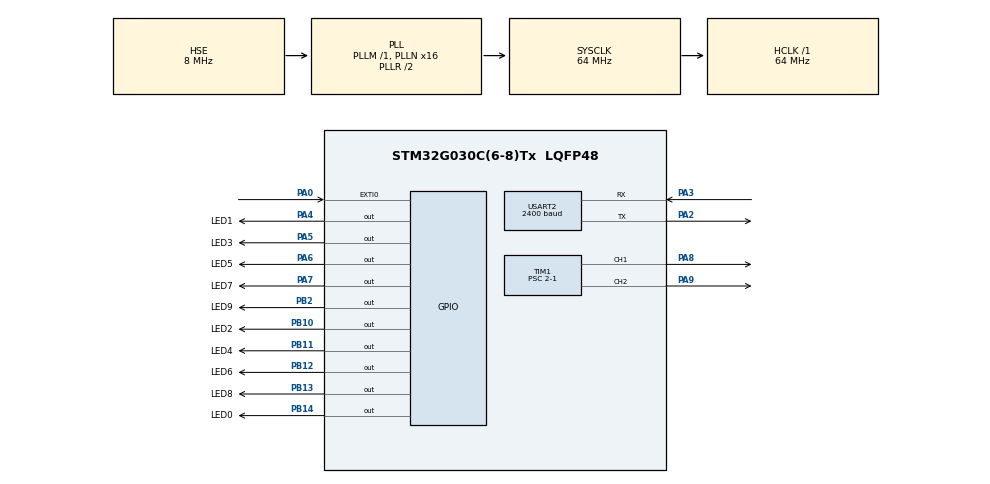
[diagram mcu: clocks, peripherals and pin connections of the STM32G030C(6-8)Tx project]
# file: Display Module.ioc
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Mcu.Family=STM32G0
Mcu.Name=STM32G030C(6-8)Tx
Mcu.Package=LQFP48
NVIC.USART2_IRQn=true\:3\:0\:true\:false\:true\:true\:true\:true
PA0.GPIO_ModeDefaultEXTI=GPIO_MODE_IT_FALLING
PA0.Signal=GPXTI0
PA13.Mode=Serial_Wire
PA13.Signal=SYS_SWDIO
PA14-BOOT0.Mode=Serial_Wire
PA14-BOOT0.Signal=SYS_SWCLK
PA2.Mode=Asynchronous
PA2.Signal=USART2_TX
PA3.Mode=Asynchronous
PA3.Signal=USART2_RX
PA4.GPIO_Label=LED1
PA4.GPIO_ModeDefaultOutputPP=GPIO_MODE_OUTPUT_OD
PA4.GPIO_PuPd=GPIO_NOPULL
PA4.Signal=GPIO_Output
PA5.GPIO_Label=LED3
PA5.GPIO_ModeDefaultOutputPP=GPIO_MODE_OUTPUT_OD
PA5.GPIO_PuPd=GPIO_NOPULL
PA5.Signal=GPIO_Output
PA6.GPIO_Label=LED5
PA6.GPIO_ModeDefaultOutputPP=GPIO_MODE_OUTPUT_OD
PA6.GPIO_PuPd=GPIO_NOPULL
PA6.Signal=GPIO_Output
PA7.GPIO_Label=LED7
PA7.GPIO_ModeDefaultOutputPP=GPIO_MODE_OUTPUT_OD
PA7.GPIO_PuPd=GPIO_NOPULL
PA7.Signal=GPIO_Output
PA8.Signal=S_TIM1_CH1
PA9.Signal=S_TIM1_CH2
PB10.GPIO_Label=LED2
PB10.GPIO_ModeDefaultOutputPP=GPIO_MODE_OUTPUT_OD
PB10.GPIO_PuPd=GPIO_NOPULL
PB10.Signal=GPIO_Output
PB11.GPIO_Label=LED4
PB11.GPIO_ModeDefaultOutputPP=GPIO_MODE_OUTPUT_OD
PB11.GPIO_PuPd=GPIO_NOPULL
PB11.Signal=GPIO_Output
PB12.GPIO_Label=LED6
PB12.GPIO_ModeDefaultOutputPP=GPIO_MODE_OUTPUT_OD
PB12.GPIO_PuPd=GPIO_NOPULL
PB12.Signal=GPIO_Output
PB13.GPIO_Label=LED8
PB13.GPIO_ModeDefaultOutputPP=GPIO_MODE_OUTPUT_OD
PB13.GPIO_PuPd=GPIO_NOPULL
PB13.Signal=GPIO_Output
PB14.GPIO_Label=LED0
PB14.GPIO_ModeDefaultOutputPP=GPIO_MODE_OUTPUT_OD
PB14.GPIO_PuPd=GPIO_NOPULL
PB14.Signal=GPIO_Output
PB2.GPIO_Label=LED9
PB2.GPIO_ModeDefaultOutputPP=GPIO_MODE_OUTPUT_OD
PB2.GPIO_PuPd=GPIO_NOPULL
PB2.Signal=GPIO_Output
PF0-OSC_IN\ (PF0).Mode=HSE-External-Oscillator
PF0-OSC_IN\ (PF0).Signal=RCC_OSC_IN
PF1-OSC_OUT\ (PF1).Mode=HSE-External-Oscillator
PF1-OSC_OUT\ (PF1).Signal=RCC_OSC_OUT
ProjectManager.HeapSize=0x200
ProjectManager.StackSize=0x400
ProjectManager.TargetToolchain=STM32CubeIDE
RCC.ADCFreq_Value=64000000
RCC.AHBFreq_Value=64000000
RCC.APB1CLKDivider=RCC_HCLK_DIV2
RCC.CortexFreq_Value=64000000
RCC.EXTERNAL_CLOCK_VALUE=12288000
RCC.HCLKFreq_Value=64000000
RCC.HSE_VALUE=8000000
RCC.HSI_VALUE=16000000
RCC.LSE_VALUE=32768
RCC.PLLN=16
RCC.PLLSourceVirtual=RCC_PLLSOURCE_HSE
RCC.SYSCLKFreq_VALUE=64000000
RCC.SYSCLKSource=RCC_SYSCLKSOURCE_PLLCLK
RCC.VCOOutputFreq_Value=128000000
SH.S_TIM1_CH1.0=TIM1_CH1,PWM Generation1 CH1
SH.S_TIM1_CH2.0=TIM1_CH2,PWM Generation2 CH2
TIM1.Channel-PWM\ Generation1\ CH1=TIM_CHANNEL_1
TIM1.Channel-PWM\ Generation2\ CH2=TIM_CHANNEL_2
TIM1.Period=64-1
TIM1.Prescaler=2-1
USART2.BaudRate=2400
USART2.VirtualMode-Asynchronous=VM_ASYNC
VP_TIM1_VS_ClockSourceINT.Mode=Internal
board=custom

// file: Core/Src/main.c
/* USER CODE BEGIN Header */
/**
  ******************************************************************************
  * @file           : main.c
  * @brief          : Main program body
  ******************************************************************************
  * @attention
  *
  * Copyright (c) 2024 STMicroelectronics.
  * All rights reserved.
  *
  * This software is licensed under terms that can be found in the LICENSE file
  * in the root directory of this software component.
  * If no LICENSE file comes with this software, it is provided AS-IS.
  *
  ******************************************************************************
  */
/* USER CODE END Header */
#include "main.h"

/* USER CODE BEGIN Includes */
#include <stdio.h>
#include <string.h>
/* USER CODE END Includes */

/* USER CODE BEGIN PD */
#define MAX_LED 10

uint8_t LED_Data[MAX_LED][4];
uint8_t LED_Mod[MAX_LED][4];  // for brightness

int datasentflag=0;
/* USER CODE END PD */

TIM_HandleTypeDef htim1;

UART_HandleTypeDef huart2;

/* USER CODE BEGIN PV */
volatile uint8_t interrupted=0;
volatile uint8_t cfgFlag=0;
volatile uint8_t readDigit=0;

uint8_t red = 0;
uint8_t green = 0;
uint8_t blue = 0;

uint8_t rx_buffer[20];
uint8_t tx_buffer[20];

uint8_t address;
uint8_t digit;
/* USER CODE END PV */

void SystemClock_Config(void);
static void MX_GPIO_Init(void);
static void MX_TIM1_Init(void);
static void MX_USART2_UART_Init(void);

/* USER CODE BEGIN 0 */

void Set_LED (int LEDnum, int Red, int Green, int Blue)
{
	LED_Data[LEDnum][0] = LEDnum;
	LED_Data[LEDnum][1] = Green;
	LED_Data[LEDnum][2] = Red;
	LED_Data[LEDnum][3] = Blue;
}

void HAL_TIM_PWM_PulseFinishedCallback(TIM_HandleTypeDef *htim)
{
	HAL_TIM_PWM_Stop_DMA(&htim1, TIM_CHANNEL_1);
	datasentflag=1;
}

uint16_t pwmData[(24*MAX_LED)+40];

void WS2812_Send (void)
{
	uint32_t indx=0;
	uint32_t color;

	for (int i= 0; i<MAX_LED; i++)
	{
		color = ((LED_Data[i][1]<<16) | (LED_Data[i][2]<<8) | (LED_Data[i][3]));

		for (int i=23; i>=0; i--)
		{
			if (color&(1<<i))
			{
				pwmData[indx] =29;  // ~45% of 64
			}

			else pwmData[indx] = 9;  // ~14% of 64

			indx++;
		}

	}

	for (int i=0; i<40; i++)
	{
		pwmData[indx] = 0;
		indx++;
	}

	HAL_TIM_PWM_Start_DMA(&htim1, TIM_CHANNEL_1, (uint32_t *)pwmData, indx);
	while (!datasentflag){};
	datasentflag = 0;
}

void toggleLED(int LED, int r, int g, int b)
{
	for (int var = 0; var < MAX_LED; ++var)
	{
		Set_LED(var, 0,0,0);
	}

	WS2812_Send();
	Set_LED(LED, r,g,b);
	WS2812_Send();
}

// Split-Flap code
//void GO(int angle, int delay)
//{
//	int step = angle/0.703125;
//
//	for (int var = 0; var < step; ++var)
//	{
//		HAL_GPIO_TogglePin(GPIOB, IN1_Pin);
//		HAL_GPIO_TogglePin(GPIOB, IN4_Pin);
//		HAL_Delay(delay);
//		HAL_GPIO_TogglePin(GPIOB, IN1_Pin);
//		HAL_GPIO_TogglePin(GPIOB, IN4_Pin);
//		HAL_GPIO_TogglePin(GPIOB, IN4_Pin);
//		HAL_GPIO_TogglePin(GPIOB, IN3_Pin);
//		HAL_Delay(delay);
//		HAL_GPIO_TogglePin(GPIOB, IN4_Pin);
//		HAL_GPIO_TogglePin(GPIOB, IN3_Pin);
//		HAL_GPIO_TogglePin(GPIOB, IN3_Pin);
//		HAL_GPIO_TogglePin(GPIOB, IN2_Pin);
//		HAL_Delay(delay);
//		HAL_GPIO_TogglePin(GPIOB, IN3_Pin);
//		HAL_GPIO_TogglePin(GPIOB, IN2_Pin);
//		HAL_GPIO_TogglePin(GPIOB, IN2_Pin);
//		HAL_GPIO_TogglePin(GPIOB, IN1_Pin);
//		HAL_Delay(delay);
//		HAL_GPIO_TogglePin(GPIOB, IN2_Pin);
//		HAL_GPIO_TogglePin(GPIOB, IN1_Pin);
//	}
//}

//void HAL_GPIO_EXTI_Falling_Callback(uint16_t GPIO_Pin)
//{
//	interrupted=1;
//	HAL_GPIO_TogglePin(GPIOD, GPIO_PIN_1);
//}
/* USER CODE END 0 */

int main(void)
{

  /* MCU Configuration--------------------------------------------------------*/

  /* Reset of all peripherals, Initializes the Flash interface and the Systick. */
  HAL_Init();

  /* Configure the system clock */
  SystemClock_Config();

  /* Initialize all configured peripherals */
  MX_GPIO_Init();
  MX_TIM1_Init();
  MX_USART2_UART_Init();
  /* USER CODE BEGIN 2 */

  HAL_UART_Receive_IT(&huart2, rx_buffer, 2);

  for (int var = 0; var < MAX_LED; ++var)
  {
	Set_LED(var, 0,0,0);
  }

  WS2812_Send();

//  HAL_TIM_PWM_Start(&htim1, TIM_CHANNEL_2);

  /* USER CODE END 2 */

  /* Infinite loop */
  /* USER CODE BEGIN WHILE */
  while (1)
  {
	  if(cfgFlag)
	  {
		  toggleLED(address, red, green, blue);
		  cfgFlag = 0;
	  }

	  if(readDigit)
	  {
		  toggleLED(digit, red, green, blue);
		  readDigit=0;
	  }

	  // Split-Flap Test
//	  GO(90,3);

	  // Flexie Test (still need to reconfigure Timer1 to 10kHz in IOC)
//	  HAL_GPIO_WritePin(GPIOB, GPIO_PIN_10, 0);
//	  HAL_GPIO_WritePin(GPIOA, GPIO_PIN_4, 1);
//	  HAL_Delay(1000);
//	  HAL_GPIO_WritePin(GPIOA, GPIO_PIN_4, 0);
//	  HAL_GPIO_WritePin(GPIOB, GPIO_PIN_10,1);
//	  HAL_Delay(1000);

    /* USER CODE END WHILE */

  }
}

void SystemClock_Config(void)
{
  RCC_OscInitTypeDef RCC_OscInitStruct = {0};
  RCC_ClkInitTypeDef RCC_ClkInitStruct = {0};

  /** Configure the main internal regulator output voltage
  */
  HAL_PWREx_ControlVoltageScaling(PWR_REGULATOR_VOLTAGE_SCALE1);

  /** Initializes the RCC Oscillators according to the specified parameters
  * in the RCC_OscInitTypeDef structure.
  */
  RCC_OscInitStruct.OscillatorType = RCC_OSCILLATORTYPE_HSE;
  RCC_OscInitStruct.HSEState = RCC_HSE_ON;
  RCC_OscInitStruct.PLL.PLLState = RCC_PLL_ON;
  RCC_OscInitStruct.PLL.PLLSource = RCC_PLLSOURCE_HSE;
  RCC_OscInitStruct.PLL.PLLM = RCC_PLLM_DIV1;
  RCC_OscInitStruct.PLL.PLLN = 16;
  RCC_OscInitStruct.PLL.PLLP = RCC_PLLP_DIV2;
  RCC_OscInitStruct.PLL.PLLR = RCC_PLLR_DIV2;
  if (HAL_RCC_OscConfig(&RCC_OscInitStruct) != HAL_OK)
  {
    Error_Handler();
  }

  /** Initializes the CPU, AHB and APB buses clocks
  */
  RCC_ClkInitStruct.ClockType = RCC_CLOCKTYPE_HCLK|RCC_CLOCKTYPE_SYSCLK
                              |RCC_CLOCKTYPE_PCLK1;
  RCC_ClkInitStruct.SYSCLKSource = RCC_SYSCLKSOURCE_PLLCLK;
  RCC_ClkInitStruct.AHBCLKDivider = RCC_SYSCLK_DIV1;
  RCC_ClkInitStruct.APB1CLKDivider = RCC_HCLK_DIV2;

  if (HAL_RCC_ClockConfig(&RCC_ClkInitStruct, FLASH_LATENCY_2) != HAL_OK)
  {
    Error_Handler();
  }
}

static void MX_TIM1_Init(void)
{

  TIM_ClockConfigTypeDef sClockSourceConfig = {0};
  TIM_MasterConfigTypeDef sMasterConfig = {0};
  TIM_OC_InitTypeDef sConfigOC = {0};
  TIM_BreakDeadTimeConfigTypeDef sBreakDeadTimeConfig = {0};

  htim1.Instance = TIM1;
  htim1.Init.Prescaler = 2-1;
  htim1.Init.CounterMode = TIM_COUNTERMODE_UP;
  htim1.Init.Period = 64-1;
  htim1.Init.ClockDivision = TIM_CLOCKDIVISION_DIV1;
  htim1.Init.RepetitionCounter = 0;
  htim1.Init.AutoReloadPreload = TIM_AUTORELOAD_PRELOAD_DISABLE;
  if (HAL_TIM_Base_Init(&htim1) != HAL_OK)
  {
    Error_Handler();
  }
  sClockSourceConfig.ClockSource = TIM_CLOCKSOURCE_INTERNAL;
  if (HAL_TIM_ConfigClockSource(&htim1, &sClockSourceConfig) != HAL_OK)
  {
    Error_Handler();
  }
  if (HAL_TIM_PWM_Init(&htim1) != HAL_OK)
  {
    Error_Handler();
  }
  sMasterConfig.MasterOutputTrigger = TIM_TRGO_RESET;
  sMasterConfig.MasterOutputTrigger2 = TIM_TRGO2_RESET;
  sMasterConfig.MasterSlaveMode = TIM_MASTERSLAVEMODE_DISABLE;
  if (HAL_TIMEx_MasterConfigSynchronization(&htim1, &sMasterConfig) != HAL_OK)
  {
    Error_Handler();
  }
  sConfigOC.OCMode = TIM_OCMODE_PWM1;
  sConfigOC.Pulse = 0;
  sConfigOC.OCPolarity = TIM_OCPOLARITY_HIGH;
  sConfigOC.OCNPolarity = TIM_OCNPOLARITY_HIGH;
  sConfigOC.OCFastMode = TIM_OCFAST_DISABLE;
  sConfigOC.OCIdleState = TIM_OCIDLESTATE_RESET;
  sConfigOC.OCNIdleState = TIM_OCNIDLESTATE_RESET;
  if (HAL_TIM_PWM_ConfigChannel(&htim1, &sConfigOC, TIM_CHANNEL_1) != HAL_OK)
  {
    Error_Handler();
  }
  if (HAL_TIM_PWM_ConfigChannel(&htim1, &sConfigOC, TIM_CHANNEL_2) != HAL_OK)
  {
    Error_Handler();
  }
  sBreakDeadTimeConfig.OffStateRunMode = TIM_OSSR_DISABLE;
  sBreakDeadTimeConfig.OffStateIDLEMode = TIM_OSSI_DISABLE;
  sBreakDeadTimeConfig.LockLevel = TIM_LOCKLEVEL_OFF;
  sBreakDeadTimeConfig.DeadTime = 0;
  sBreakDeadTimeConfig.BreakState = TIM_BREAK_DISABLE;
  sBreakDeadTimeConfig.BreakPolarity = TIM_BREAKPOLARITY_HIGH;
  sBreakDeadTimeConfig.BreakFilter = 0;
  sBreakDeadTimeConfig.BreakAFMode = TIM_BREAK_AFMODE_INPUT;
  sBreakDeadTimeConfig.Break2State = TIM_BREAK2_DISABLE;
  sBreakDeadTimeConfig.Break2Polarity = TIM_BREAK2POLARITY_HIGH;
  sBreakDeadTimeConfig.Break2Filter = 0;
  sBreakDeadTimeConfig.Break2AFMode = TIM_BREAK_AFMODE_INPUT;
  sBreakDeadTimeConfig.AutomaticOutput = TIM_AUTOMATICOUTPUT_DISABLE;
  if (HAL_TIMEx_ConfigBreakDeadTime(&htim1, &sBreakDeadTimeConfig) != HAL_OK)
  {
    Error_Handler();
  }
  HAL_TIM_MspPostInit(&htim1);

}

static void MX_USART2_UART_Init(void)
{

  huart2.Instance = USART2;
  huart2.Init.BaudRate = 2400;
  huart2.Init.WordLength = UART_WORDLENGTH_8B;
  huart2.Init.StopBits = UART_STOPBITS_1;
  huart2.Init.Parity = UART_PARITY_NONE;
  huart2.Init.Mode = UART_MODE_TX_RX;
  huart2.Init.HwFlowCtl = UART_HWCONTROL_NONE;
  huart2.Init.OverSampling = UART_OVERSAMPLING_16;
  huart2.Init.OneBitSampling = UART_ONE_BIT_SAMPLE_DISABLE;
  huart2.Init.ClockPrescaler = UART_PRESCALER_DIV1;
  huart2.AdvancedInit.AdvFeatureInit = UART_ADVFEATURE_NO_INIT;
  if (HAL_UART_Init(&huart2) != HAL_OK)
  {
    Error_Handler();
  }

}

static void MX_GPIO_Init(void)
{
  GPIO_InitTypeDef GPIO_InitStruct = {0};

  /* GPIO Ports Clock Enable */
  __HAL_RCC_GPIOF_CLK_ENABLE();
  __HAL_RCC_GPIOA_CLK_ENABLE();
  __HAL_RCC_GPIOB_CLK_ENABLE();

  /*Configure GPIO pin Output Level */
  HAL_GPIO_WritePin(GPIOA, LED1_Pin|LED3_Pin|LED5_Pin|LED7_Pin, GPIO_PIN_RESET);

  /*Configure GPIO pin Output Level */
  HAL_GPIO_WritePin(GPIOB, LED9_Pin|LED2_Pin|LED4_Pin|LED6_Pin
                          |LED8_Pin|LED0_Pin, GPIO_PIN_RESET);

  /*Configure GPIO pin : PA0 */
  GPIO_InitStruct.Pin = GPIO_PIN_0;
  GPIO_InitStruct.Mode = GPIO_MODE_IT_FALLING;
  GPIO_InitStruct.Pull = GPIO_NOPULL;
  HAL_GPIO_Init(GPIOA, &GPIO_InitStruct);

  /*Configure GPIO pins : LED1_Pin LED3_Pin LED5_Pin LED7_Pin */
  GPIO_InitStruct.Pin = LED1_Pin|LED3_Pin|LED5_Pin|LED7_Pin;
  GPIO_InitStruct.Mode = GPIO_MODE_OUTPUT_OD;
  GPIO_InitStruct.Pull = GPIO_NOPULL;
  GPIO_InitStruct.Speed = GPIO_SPEED_FREQ_LOW;
  HAL_GPIO_Init(GPIOA, &GPIO_InitStruct);

  /*Configure GPIO pins : LED9_Pin LED2_Pin LED4_Pin LED6_Pin
                           LED8_Pin LED0_Pin */
  GPIO_InitStruct.Pin = LED9_Pin|LED2_Pin|LED4_Pin|LED6_Pin
                          |LED8_Pin|LED0_Pin;
  GPIO_InitStruct.Mode = GPIO_MODE_OUTPUT_OD;
  GPIO_InitStruct.Pull = GPIO_NOPULL;
  GPIO_InitStruct.Speed = GPIO_SPEED_FREQ_LOW;
  HAL_GPIO_Init(GPIOB, &GPIO_InitStruct);

/* USER CODE BEGIN MX_GPIO_Init_2 */
  HAL_GPIO_WritePin(GPIOA, GPIO_PIN_1, GPIO_PIN_SET);
/* USER CODE END MX_GPIO_Init_2 */
}

/* USER CODE BEGIN 4 */
void HAL_UART_RxCpltCallback(UART_HandleTypeDef *huart)
{
	if (huart->Instance == USART2)
	{
		if (rx_buffer[0] == 102)
		{
			address = rx_buffer[1];
			tx_buffer[0] = 102;
			tx_buffer[1] = rx_buffer[1]+1;
			HAL_Delay(100);
			HAL_UART_Transmit_IT(&huart2, tx_buffer, 2);
			HAL_GPIO_WritePin(GPIOA, GPIO_PIN_1, GPIO_PIN_RESET);
			cfgFlag = 1;

			HAL_UART_Receive_IT(&huart2, rx_buffer, 2);
			return;
		}
		else if (rx_buffer[0] == 103)
		{
			address = rx_buffer[1];
			tx_buffer[0] = 103;
			tx_buffer[1] = rx_buffer[1]-1;
			HAL_Delay(100);
			HAL_UART_Transmit_IT(&huart2, tx_buffer, 2);
			cfgFlag = 1;

			HAL_UART_Receive_IT(&huart2, rx_buffer, 7);
			return;
		}
		else if (rx_buffer[0] == 104)
		{
			red = rx_buffer[2];
			green = rx_buffer[3];
			blue = rx_buffer[4];

			for (int var = 0; var < 7; ++var)
			{
				tx_buffer[var] = rx_buffer[var];
			}

			HAL_UART_Transmit_IT(&huart2, tx_buffer, 7);

			cfgFlag = 1;

			HAL_UART_Receive_IT(&huart2, rx_buffer, address+1);
			return;
		}
		else if(rx_buffer[0] == 105)
		{
			digit = rx_buffer[address];

			for (int var = 0; var < address; ++var)
			{
				tx_buffer[var] = rx_buffer[var];
			}

			HAL_Delay(100);
			HAL_UART_Transmit_IT(&huart2, tx_buffer, address);
			readDigit = 1;

			HAL_UART_Receive_IT(&huart2, rx_buffer, address+1);
			return;
		}

	}
}

/* USER CODE END 4 */

void Error_Handler(void)
{
  __disable_irq();
  while (1)
  {
  }
}
